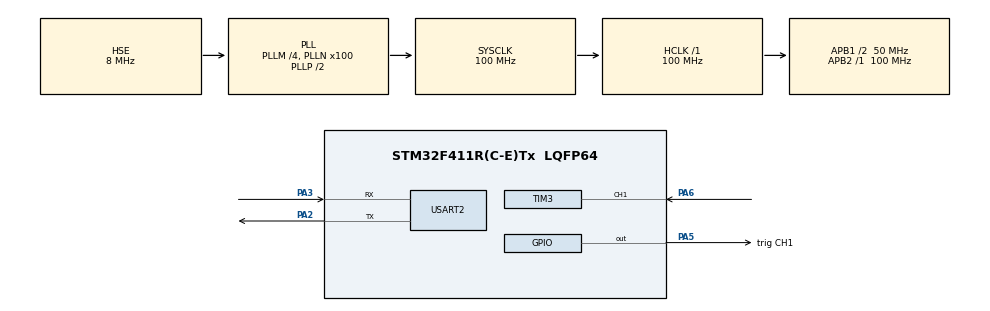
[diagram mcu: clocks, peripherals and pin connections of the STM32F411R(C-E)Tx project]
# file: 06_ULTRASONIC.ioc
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Mcu.Family=STM32F4
Mcu.Name=STM32F411R(C-E)Tx
Mcu.Package=LQFP64
NVIC.PriorityGroup=NVIC_PRIORITYGROUP_4
NVIC.TIM3_IRQn=true\:0\:0\:false\:false\:true\:true\:true\:true
NVIC.USART2_IRQn=true\:0\:0\:false\:false\:true\:true\:true\:true
PA13.Mode=Serial_Wire
PA13.Signal=SYS_JTMS-SWDIO
PA14.Mode=Serial_Wire
PA14.Signal=SYS_JTCK-SWCLK
PA2.Mode=Asynchronous
PA2.Signal=USART2_TX
PA3.Mode=Asynchronous
PA3.Signal=USART2_RX
PA5.GPIO_Label=trig CH1
PA5.GPIO_Speed=GPIO_SPEED_FREQ_VERY_HIGH
PA5.PinState=GPIO_PIN_RESET
PA5.Signal=GPIO_Output
PA6.Signal=S_TIM3_CH1
PH0\ -\ OSC_IN.Mode=HSE-External-Oscillator
PH0\ -\ OSC_IN.Signal=RCC_OSC_IN
PH1\ -\ OSC_OUT.Mode=HSE-External-Oscillator
PH1\ -\ OSC_OUT.Signal=RCC_OSC_OUT
ProjectManager.HeapSize=0x200
ProjectManager.StackSize=0x400
ProjectManager.TargetToolchain=STM32CubeIDE
RCC.48MHZClocksFreq_Value=50000000
RCC.AHBFreq_Value=100000000
RCC.APB1CLKDivider=RCC_HCLK_DIV2
RCC.APB1Freq_Value=50000000
RCC.APB1TimFreq_Value=100000000
RCC.APB2Freq_Value=100000000
RCC.APB2TimFreq_Value=100000000
RCC.CortexFreq_Value=100000000
RCC.HCLKFreq_Value=100000000
RCC.HSE_VALUE=8000000
RCC.HSI_VALUE=16000000
RCC.LSE_VALUE=32768
RCC.PLLM=4
RCC.PLLN=100
RCC.PLLSourceVirtual=RCC_PLLSOURCE_HSE
RCC.SYSCLKFreq_VALUE=100000000
RCC.SYSCLKSource=RCC_SYSCLKSOURCE_PLLCLK
RCC.VCOOutputFreq_Value=200000000
SH.S_TIM3_CH1.0=TIM3_CH1,Input_Capture1_from_TI1
TIM3.Channel-Input_Capture1_from_TI1=TIM_CHANNEL_1
TIM3.Prescaler=100-1
USART2.VirtualMode=VM_ASYNC
VP_TIM3_VS_ClockSourceINT.Mode=Internal
board=custom

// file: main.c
/* USER CODE BEGIN Header */
/**
  ******************************************************************************
  * @file           : main.c
  * @brief          : Main program body
  ******************************************************************************
  * @attention
  *
  * Copyright (c) 2025 STMicroelectronics.
  * All rights reserved.
  *
  * This software is licensed under terms that can be found in the LICENSE file
  * in the root directory of this software component.
  * If no LICENSE file comes with this software, it is provided AS-IS.
  *
  ******************************************************************************
  */
/* USER CODE END Header */
#include "main.h"
#include "tim.h"
#include "usart.h"
#include "gpio.h"

/* USER CODE BEGIN Includes */
#include "delay.h"
#include "stdio.h"
#include "ultrasonic.h"

/* USER CODE END Includes */

/* USER CODE BEGIN PD */
//#define TRIG_PORT		GPIOA
//#define TRIG_PIN		GPIO_PIN_5

/* USER CODE END PD */

/* USER CODE BEGIN PM */
#ifdef __GNUC__
/* With GCC small printf (option LD Linker->Libraries->Small printf
 * set to 'Yes') calls __io_putchar() */
#define PUTCHAR_PROTOTYPE int  __io_putchar(int ch)
#else
#define PUTCHAR_PROTOTYPE int  fputc(int ch, FILE *f)
#endif /* __GNUC__*/

/** @brief Retargets the C library printf function to the USART.
 *  @param None
 *  @retval None
 */
PUTCHAR_PROTOTYPE
{
  /* Place your implementation of fputc here */
  /* e.g. write a character to the USART2 and Loop
     until the end of transmission */
  if(ch == '\n')
    HAL_UART_Transmit(&huart2, (uint8_t*) "\r", 1, 0xFFFF);
    HAL_UART_Transmit(&huart2, (uint8_t*) &ch, 1, 0xFFFF);
}

/* USER CODE END PM */

/* USER CODE BEGIN PV */

//uint16_t IC_Value1 = 0;  // 에코핀이 하이엣지 일때
//uint16_t IC_Value2 = 0;  // 에코핀이 로우엣지 일때
//uint16_t echoTime = 0;  //에코핀의 하이엣지와 로우엣지 사이의 시간(카운드 갯수)
//uint8_t captureFlag = 0;  //
//uint8_t distance = 0;   // 거리

//extern uint8_t distance;
//uint8_t distance;
/* USER CODE END PV */

void SystemClock_Config(void);
/* USER CODE BEGIN PFP */

//void HCRSC04_Trigger(void)
//{
//	HAL_GPIO_WritePin(GPIOA, GPIO_PIN_5, 0);
//	delay_us(1);
//
//	HAL_GPIO_WritePin(GPIOA, GPIO_PIN_5, 1);
//	delay_us(10);
//	HAL_GPIO_WritePin(GPIOA, GPIO_PIN_5, 0);
//
//
//	__HAL_TIM_ENABLE_IT(&htim3, TIM_IT_CC1);
//}
//
//
//void HAL_TIM_IC_CaptureCallback(TIM_HandleTypeDef *htim)
//{
//	if(htim->Channel == HAL_TIM_ACTIVE_CHANNEL_1)
//	{
//		if(captureFlag == 0)		// 아직 캡처 안 했으면
//		{
//			// 첫번째 밸류에 캡처 인터럽트가 발생하면 카운트 값을 가져옴
//			IC_Value1 = HAL_TIM_ReadCapturedValue(&htim3, TIM_CHANNEL_1);
//			captureFlag = 1;		//캡쳐 했다고 플래그 세움
//
//			__HAL_TIM_SET_CAPTUREPOLARITY(&htim3, TIM_CHANNEL_1, TIM_INPUTCHANNELPOLARITY_FALLING);
//
//		}
//
//		else if(captureFlag == 1)			// 한번 캡처 했으면
//		{
//			IC_Value2 = HAL_TIM_ReadCapturedValue(&htim3, TIM_CHANNEL_1);
//			__HAL_TIM_SET_COUNTER(&htim3, 0);
//
//
//			if(IC_Value2 > IC_Value1)
//			{
//				echoTime = IC_Value2 - IC_Value1;
//
//
//			}
//			else if(IC_Value1 > IC_Value2)
//			{
//
//				echoTime = (0xfff - IC_Value1) + IC_Value2;
//
//
//
//			}
//
//			//
//			distance = echoTime / 58;
//			captureFlag = 0;
//
//			__HAL_TIM_SET_CAPTUREPOLARITY(&htim3, TIM_CHANNEL_1, TIM_INPUTCHANNELPOLARITY_RISING);
//			__HAL_TIM_DISABLE_IT(&htim3, TIM_IT_CC1);
//
//		}
//
//
//	}
//
//
//
//
//
//}
//

/* USER CODE END PFP */

int main(void)
{

  /* MCU Configuration--------------------------------------------------------*/

  /* Reset of all peripherals, Initializes the Flash interface and the Systick. */
  HAL_Init();

  /* Configure the system clock */
  SystemClock_Config();

  /* Initialize all configured peripherals */
  MX_GPIO_Init();
  MX_TIM3_Init();
  MX_USART2_UART_Init();
  /* USER CODE BEGIN 2 */

  HAL_TIM_Base_Start(&htim3);

  HAL_TIM_IC_Start_IT(&htim3, TIM_CHANNEL_1);
//  HAL_TIM_IC_Start_IT(&htim3, TIM_CHANNEL_2);

  /* USER CODE END 2 */

  /* Infinite loop */
  /* USER CODE BEGIN WHILE */
  while (1)
  {

	  HCRSC04_Trigger();
//	  HCRSC04_Trigger1();
	  printf(" %d  cm \r\n", distance);
	  HAL_Delay(500);
//	  printf(" %d   \r\n", distance1);
//	  HAL_Delay(500);

//	  if(distance < 40)
//	  {
//		  printf("end \r\n");
//		  HAL_Delay(10000);
//	  }

    /* USER CODE END WHILE */

  }
}

void SystemClock_Config(void)
{
  RCC_OscInitTypeDef RCC_OscInitStruct = {0};
  RCC_ClkInitTypeDef RCC_ClkInitStruct = {0};

  /** Configure the main internal regulator output voltage
  */
  __HAL_RCC_PWR_CLK_ENABLE();
  __HAL_PWR_VOLTAGESCALING_CONFIG(PWR_REGULATOR_VOLTAGE_SCALE1);

  /** Initializes the RCC Oscillators according to the specified parameters
  * in the RCC_OscInitTypeDef structure.
  */
  RCC_OscInitStruct.OscillatorType = RCC_OSCILLATORTYPE_HSE;
  RCC_OscInitStruct.HSEState = RCC_HSE_ON;
  RCC_OscInitStruct.PLL.PLLState = RCC_PLL_ON;
  RCC_OscInitStruct.PLL.PLLSource = RCC_PLLSOURCE_HSE;
  RCC_OscInitStruct.PLL.PLLM = 4;
  RCC_OscInitStruct.PLL.PLLN = 100;
  RCC_OscInitStruct.PLL.PLLP = RCC_PLLP_DIV2;
  RCC_OscInitStruct.PLL.PLLQ = 4;
  if (HAL_RCC_OscConfig(&RCC_OscInitStruct) != HAL_OK)
  {
    Error_Handler();
  }

  /** Initializes the CPU, AHB and APB buses clocks
  */
  RCC_ClkInitStruct.ClockType = RCC_CLOCKTYPE_HCLK|RCC_CLOCKTYPE_SYSCLK
                              |RCC_CLOCKTYPE_PCLK1|RCC_CLOCKTYPE_PCLK2;
  RCC_ClkInitStruct.SYSCLKSource = RCC_SYSCLKSOURCE_PLLCLK;
  RCC_ClkInitStruct.AHBCLKDivider = RCC_SYSCLK_DIV1;
  RCC_ClkInitStruct.APB1CLKDivider = RCC_HCLK_DIV2;
  RCC_ClkInitStruct.APB2CLKDivider = RCC_HCLK_DIV1;

  if (HAL_RCC_ClockConfig(&RCC_ClkInitStruct, FLASH_LATENCY_3) != HAL_OK)
  {
    Error_Handler();
  }
}

void Error_Handler(void)
{
  __disable_irq();
  while (1)
  {
  }
}
